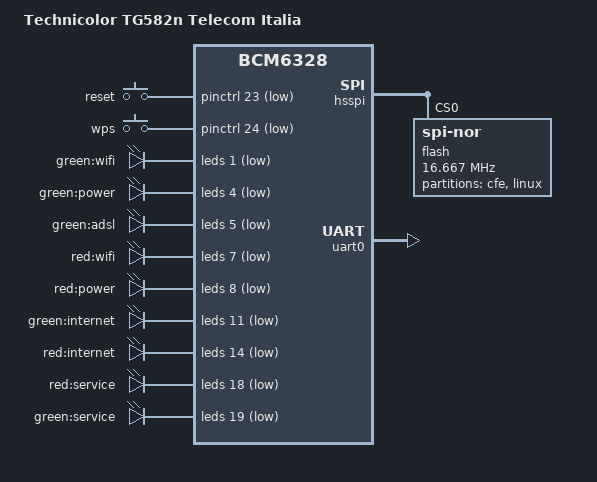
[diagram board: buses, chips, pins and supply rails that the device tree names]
// SPDX-License-Identifier: GPL-2.0-or-later OR MIT

#include "bcm6328.dtsi"

#include <dt-bindings/input/input.h>

/ {
	model = "Technicolor TG582n Telecom Italia";
	compatible = "technicolor,tg582n-telecom-italia", "brcm,bcm6328";

	aliases {
		led-boot = &led_power_green;
		led-failsafe = &led_power_green;
		led-running = &led_power_green;
		led-upgrade = &led_power_green;
	};

	chosen {
		bootargs = "rootfstype=squashfs,jffs2 noinitrd console=ttyS0,115200";
		stdout-path = "serial0:115200n8";
	};

	keys {
		compatible = "gpio-keys-polled";
		#address-cells = <1>;
		#size-cells = <0>;
		poll-interval = <20>;

		reset {
			label = "reset";
			gpios = <&pinctrl 23 1>;
			linux,code = <KEY_RESTART>;
			debounce-interval = <60>;
		};

		wps {
			label = "wps";
			gpios = <&pinctrl 24 1>;
			linux,code = <KEY_WPS_BUTTON>;
			debounce-interval = <60>;
		};
	};
};

&leds {
	status = "okay";

	pinctrl-names = "default";
	pinctrl-0 = <&pinctrl_leds>;

	led@1 {
		reg = <1>;
		active-low;
		label = "green:wifi";
	};

	led_power_green: led@4 {
		reg = <4>;
		active-low;
		label = "green:power";
		default-state = "on";
	};

	led@5 {
		reg = <5>;
		active-low;
		label = "green:adsl";
	};

	led@7 {
		reg = <7>;
		active-low;
		label = "red:wifi";
	};

	led@8 {
		reg = <8>;
		active-low;
		label = "red:power";
	};

	led@11 {
		reg = <11>;
		active-low;
		label = "green:internet";
	};

	led@14 {
		reg = <14>;
		active-low;
		label = "red:internet";
	};

	led@18 {
		reg = <18>;
		active-low;
		label = "red:service";
	};

	led@19 {
		reg = <19>;
		active-low;
		label = "green:service";
	};
};

&hsspi {
	status = "okay";

	flash@0 {
		compatible = "jedec,spi-nor";
		spi-max-frequency = <16666667>;
		spi-tx-bus-width = <2>;
		spi-rx-bus-width = <2>;
		reg = <0>;

		#address-cells = <1>;
		#size-cells = <1>;

		partitions {
			compatible = "fixed-partitions";
			#address-cells = <1>;
			#size-cells = <1>;

			partition@0 {
				reg = <0x000000 0x010000>;
				label = "cfe";
				read-only;
			};

			partition@10000 {
				reg = <0x010000 0xff0000>;
				label = "linux";
				compatible = "brcm,bcm963xx-imagetag";
			};
		};
	};
};

&pinctrl {
	pinctrl_leds: leds {
		function = "led";
		pins = "gpio1", "gpio4",
		       "gpio5", "gpio7",
		       "gpio8", "gpio11",
		       "gpio14", "gpio18",
		       "gpio19";
	};
};

&uart0 {
	status = "okay";
};
